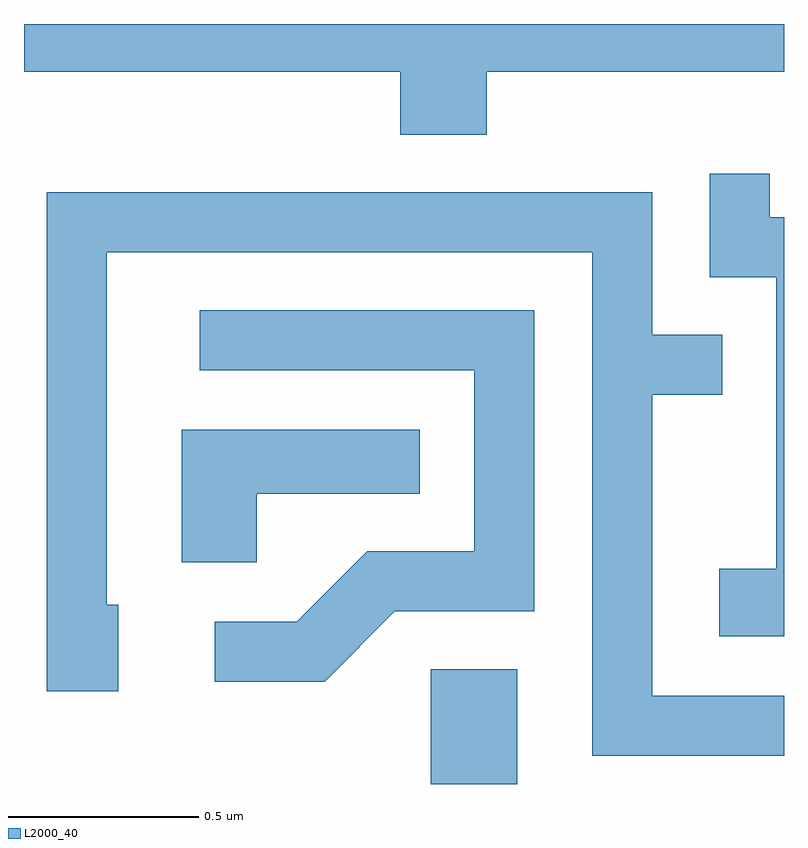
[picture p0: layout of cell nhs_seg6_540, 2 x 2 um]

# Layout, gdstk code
import gdstk
lib = gdstk.Library(unit=1e-6, precision=1e-09)
def R(c, l, rs):  # rectangles x0, y0, x1, y1
    for r in rs: c.add(gdstk.rectangle(r[:2], r[2:], *l))
def P(c, l, *ps):  # polygons
    for p in ps: c.add(gdstk.Polygon(p, *l))
L2000_40 = (2000, 40)

nhs_seg6_540 = lib.new_cell('nhs_seg6_540')
R(nhs_seg6_540, L2000_40, [(189.681,1659.162,189.909,1659.464)])
P(nhs_seg6_540, L2000_40, [(189.829,1661.036),(190.611,1661.036),(190.611,1661.162),(188.611,1661.162),(188.611,1661.036),(189.601,1661.036),(189.601,1660.871),(189.829,1660.871)],
  [(190.611,1660.654),(190.574,1660.654),(190.574,1660.768),(190.416,1660.768),(190.416,1660.496),(190.591,1660.496),(190.591,1659.729),(190.441,1659.729),(190.441,1659.551),(190.611,1659.551)],
  [(190.611,1659.394),(190.264,1659.394),(190.264,1660.186),(190.448,1660.186),(190.448,1660.344),(190.264,1660.344),(190.264,1660.719),(188.671,1660.719),(188.671,1659.406),(188.859,1659.406),(188.859,1659.634),(188.829,1659.634),(188.829,1660.561),(190.106,1660.561),(190.106,1659.236),(190.611,1659.236)],
  [(189.587,1659.616),(189.954,1659.616),(189.954,1660.409),(189.073,1660.409),(189.073,1660.251),(189.796,1660.251),(189.796,1659.774),(189.514,1659.774),(189.329,1659.589),(189.113,1659.589),(189.113,1659.431),(189.402,1659.431)],
  [(189.224,1659.926),(189.653,1659.926),(189.653,1660.094),(189.026,1660.094),(189.026,1659.746),(189.224,1659.746)])

lib.write_gds('nhs_seg6_540.gds')
